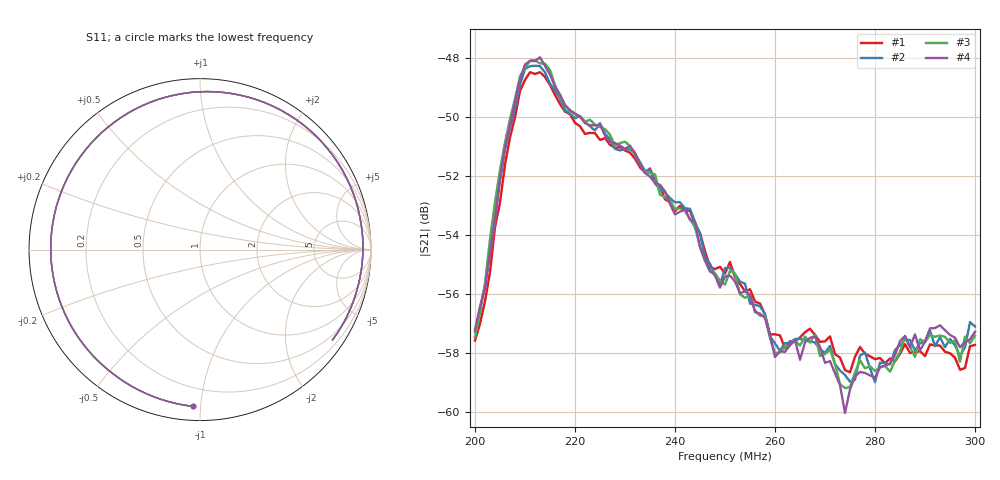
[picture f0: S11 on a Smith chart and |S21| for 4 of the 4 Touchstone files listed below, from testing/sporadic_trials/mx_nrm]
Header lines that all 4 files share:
# HZ S RI R 50
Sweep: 200 MHz to 300 MHz
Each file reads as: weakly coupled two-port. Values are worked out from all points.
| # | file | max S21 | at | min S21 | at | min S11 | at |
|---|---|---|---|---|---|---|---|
| 1 | test1.s2p | -48.50 dB | 211 MHz | -58.6 dB | 275 MHz | -1.2 dB | 227 MHz |
| 2 | test2.s2p | -48.27 dB | 212 MHz | -59.0 dB | 280 MHz | -1.2 dB | 226 MHz |
| 3 | test3.s2p | -48.09 dB | 212 MHz | -59.2 dB | 274 MHz | -1.2 dB | 225 MHz |
| 4 | test4.s2p | -47.99 dB | 213 MHz | -60.0 dB | 274 MHz | -1.2 dB | 226 MHz |
